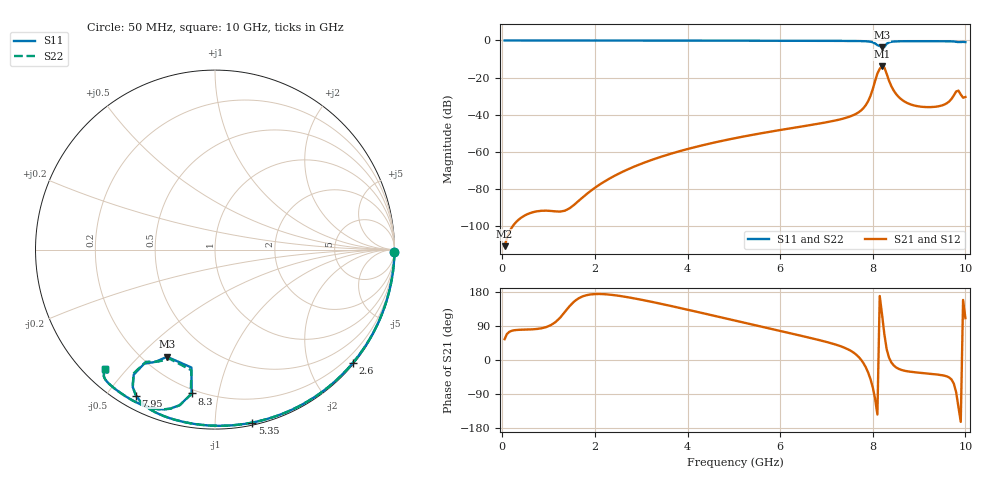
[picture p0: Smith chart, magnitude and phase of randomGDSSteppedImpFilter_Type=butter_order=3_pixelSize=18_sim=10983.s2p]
! freq	dB(S11)	phase(S11)	dB(S12)	phase(S12)
!  dB(S21)	phase(S21)	dB(S22)	phase(S22)
!S-par simulation data
#  GHz  S  DB  R 50
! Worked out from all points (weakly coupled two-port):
!   200 points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, 50 MHz to 10 GHz, reference 50 ohm
!   highest |S21| = -13.81 dB at 8.2 GHz (marker M1); lowest = -110.6 dB at 50 MHz (marker M2)
!   lowest |S11| = -3.7 dB at 8.2 GHz (marker M3), VSWR 4.79, Z = 14.6 - j30.4 ohm
!   |S11| at or under -10 dB: nowhere
!   |S22| runs from -3.6 to 0.0 dB; largest |S21 - S12| = 0
!   S11 on the Smith chart (normalised r, x): 50 MHz: open; 2.6 GHz: 0.03, -2.80; 5.35 GHz: 0.02, -1.24; 7.95 GHz: 0.05, -0.59; 8.3 GHz: 0.18, -0.83; 10 GHz: 0.06, -0.43
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0.05  -0.00 -0.8  -110.61 54.9  -110.61 54.9  -0.00 -0.8
1.75  -0.03 -26.7  -84.09 168.5  -84.09 168.5  -0.03 -26.7
1.95  -0.04 -29.7  -80.12 173.5  -80.12 173.5  -0.04 -29.7
2.6  -0.05 -39.4  -70.59 167.9  -70.59 167.9  -0.05 -39.4
3.4  -0.07 -50.9  -62.77 149.0  -62.77 149.0  -0.07 -50.9
5.05  -0.11 -73.8  -52.42 103.3  -52.42 103.3  -0.11 -73.8
5.35  -0.12 -77.9  -50.99 94.9  -50.99 94.9  -0.12 -77.9
6.7  -0.19 -95.7  -45.30 56.8  -45.30 56.8  -0.19 -95.7
7.6  -0.29 -109.0  -39.95 18.3  -39.95 18.3  -0.29 -109.0
7.8  -0.38 -113.3  -36.35 -8.5  -36.35 -8.5  -0.39 -113.3
7.95  -0.68 -118.4  -29.81 -50.1  -29.81 -50.1  -0.70 -118.6
8.1  -2.52 -121.8  -17.77 -143.9  -17.77 -143.9  -2.69 -121.6
8.2  -3.68 -114.1  -13.81 120.6  -13.81 120.6  -3.62 -112.5
8.25  -3.48 -101.3  -14.49 68.1  -14.49 68.1  -3.28 -101.0
8.3  -1.81 -99.2  -17.94 28.5  -17.94 28.5  -1.71 -99.5
8.35  -1.04 -102.7  -21.59 6.5  -21.59 6.5  -1.00 -102.9
8.6  -0.43 -112.3  -31.32 -25.4  -31.32 -25.4  -0.42 -112.4
8.95  -0.38 -118.7  -35.28 -32.9  -35.28 -32.9  -0.38 -118.8
9.5  -0.41 -126.8  -34.90 -40.3  -34.90 -40.3  -0.41 -126.8
9.85  -0.89 -131.6  -26.98 -123.6  -26.98 -123.6  -0.89 -131.6
9.95  -0.77 -132.0  -30.79 158.5  -30.79 158.5  -0.77 -132.0
10  -0.87 -132.9  -30.42 110.5  -30.42 110.5  -0.87 -132.8
